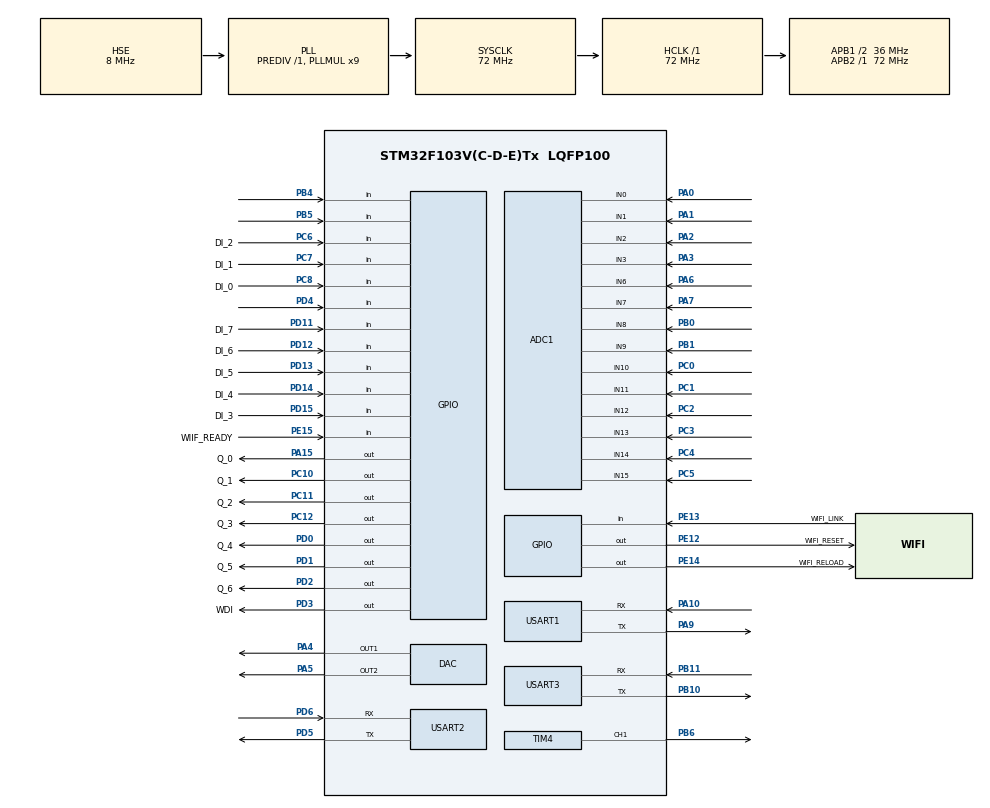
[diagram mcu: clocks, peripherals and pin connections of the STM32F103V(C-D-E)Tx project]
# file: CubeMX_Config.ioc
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ADC1.Channel-0\#ChannelRegularConversion=ADC_CHANNEL_0
ADC1.Channel-1\#ChannelRegularConversion=ADC_CHANNEL_1
ADC1.Channel-10\#ChannelRegularConversion=ADC_CHANNEL_12
ADC1.Channel-11\#ChannelRegularConversion=ADC_CHANNEL_13
ADC1.Channel-12\#ChannelRegularConversion=ADC_CHANNEL_14
ADC1.Channel-13\#ChannelRegularConversion=ADC_CHANNEL_15
ADC1.Channel-2\#ChannelRegularConversion=ADC_CHANNEL_2
ADC1.Channel-3\#ChannelRegularConversion=ADC_CHANNEL_3
ADC1.Channel-4\#ChannelRegularConversion=ADC_CHANNEL_6
ADC1.Channel-5\#ChannelRegularConversion=ADC_CHANNEL_7
ADC1.Channel-6\#ChannelRegularConversion=ADC_CHANNEL_8
ADC1.Channel-7\#ChannelRegularConversion=ADC_CHANNEL_9
ADC1.Channel-8\#ChannelRegularConversion=ADC_CHANNEL_10
ADC1.Channel-9\#ChannelRegularConversion=ADC_CHANNEL_11
ADC1.ContinuousConvMode=ENABLE
ADC1.NbrOfConversion=14
ADC1.NbrOfConversionFlag=1
ADC1.Rank-0\#ChannelRegularConversion=1
ADC1.Rank-1\#ChannelRegularConversion=2
ADC1.Rank-10\#ChannelRegularConversion=11
ADC1.Rank-11\#ChannelRegularConversion=12
ADC1.Rank-12\#ChannelRegularConversion=13
ADC1.Rank-13\#ChannelRegularConversion=14
ADC1.Rank-2\#ChannelRegularConversion=3
ADC1.Rank-3\#ChannelRegularConversion=4
ADC1.Rank-4\#ChannelRegularConversion=5
ADC1.Rank-5\#ChannelRegularConversion=6
ADC1.Rank-6\#ChannelRegularConversion=7
ADC1.Rank-7\#ChannelRegularConversion=8
ADC1.Rank-8\#ChannelRegularConversion=9
ADC1.Rank-9\#ChannelRegularConversion=10
ADC1.SamplingTime-0\#ChannelRegularConversion=ADC_SAMPLETIME_41CYCLES_5
ADC1.SamplingTime-1\#ChannelRegularConversion=ADC_SAMPLETIME_41CYCLES_5
ADC1.SamplingTime-10\#ChannelRegularConversion=ADC_SAMPLETIME_41CYCLES_5
ADC1.SamplingTime-11\#ChannelRegularConversion=ADC_SAMPLETIME_41CYCLES_5
ADC1.SamplingTime-12\#ChannelRegularConversion=ADC_SAMPLETIME_41CYCLES_5
ADC1.SamplingTime-13\#ChannelRegularConversion=ADC_SAMPLETIME_41CYCLES_5
ADC1.SamplingTime-2\#ChannelRegularConversion=ADC_SAMPLETIME_41CYCLES_5
ADC1.SamplingTime-3\#ChannelRegularConversion=ADC_SAMPLETIME_41CYCLES_5
ADC1.SamplingTime-4\#ChannelRegularConversion=ADC_SAMPLETIME_41CYCLES_5
ADC1.SamplingTime-5\#ChannelRegularConversion=ADC_SAMPLETIME_41CYCLES_5
ADC1.SamplingTime-6\#ChannelRegularConversion=ADC_SAMPLETIME_41CYCLES_5
ADC1.SamplingTime-7\#ChannelRegularConversion=ADC_SAMPLETIME_41CYCLES_5
ADC1.SamplingTime-8\#ChannelRegularConversion=ADC_SAMPLETIME_41CYCLES_5
ADC1.SamplingTime-9\#ChannelRegularConversion=ADC_SAMPLETIME_41CYCLES_5
ADC1.master=1
Dma.ADC1.6.Direction=DMA_PERIPH_TO_MEMORY
Dma.ADC1.6.Instance=DMA1_Channel1
Dma.ADC1.6.MemDataAlignment=DMA_MDATAALIGN_WORD
Dma.ADC1.6.MemInc=DMA_MINC_ENABLE
Dma.ADC1.6.Mode=DMA_CIRCULAR
Dma.ADC1.6.PeriphDataAlignment=DMA_PDATAALIGN_WORD
Dma.ADC1.6.PeriphInc=DMA_PINC_DISABLE
Dma.ADC1.6.Priority=DMA_PRIORITY_MEDIUM
Dma.Request0=USART3_RX
Dma.Request1=USART3_TX
Dma.Request2=USART1_RX
Dma.Request3=USART1_TX
Dma.Request4=USART2_RX
Dma.Request5=USART2_TX
Dma.Request6=ADC1
Dma.USART1_RX.2.Direction=DMA_PERIPH_TO_MEMORY
Dma.USART1_RX.2.Instance=DMA1_Channel5
Dma.USART1_RX.2.MemDataAlignment=DMA_MDATAALIGN_BYTE
Dma.USART1_RX.2.MemInc=DMA_MINC_ENABLE
Dma.USART1_RX.2.Mode=DMA_NORMAL
Dma.USART1_RX.2.PeriphDataAlignment=DMA_PDATAALIGN_BYTE
Dma.USART1_RX.2.PeriphInc=DMA_PINC_DISABLE
Dma.USART1_RX.2.Priority=DMA_PRIORITY_LOW
Dma.USART1_TX.3.Direction=DMA_MEMORY_TO_PERIPH
Dma.USART1_TX.3.Instance=DMA1_Channel4
Dma.USART1_TX.3.MemDataAlignment=DMA_MDATAALIGN_BYTE
Dma.USART1_TX.3.MemInc=DMA_MINC_ENABLE
Dma.USART1_TX.3.Mode=DMA_NORMAL
Dma.USART1_TX.3.PeriphDataAlignment=DMA_PDATAALIGN_BYTE
Dma.USART1_TX.3.PeriphInc=DMA_PINC_DISABLE
Dma.USART1_TX.3.Priority=DMA_PRIORITY_LOW
Dma.USART2_RX.4.Direction=DMA_PERIPH_TO_MEMORY
Dma.USART2_RX.4.Instance=DMA1_Channel6
Dma.USART2_RX.4.MemDataAlignment=DMA_MDATAALIGN_BYTE
Dma.USART2_RX.4.MemInc=DMA_MINC_ENABLE
Dma.USART2_RX.4.Mode=DMA_NORMAL
Dma.USART2_RX.4.PeriphDataAlignment=DMA_PDATAALIGN_BYTE
Dma.USART2_RX.4.PeriphInc=DMA_PINC_DISABLE
Dma.USART2_RX.4.Priority=DMA_PRIORITY_LOW
Dma.USART2_TX.5.Direction=DMA_MEMORY_TO_PERIPH
Dma.USART2_TX.5.Instance=DMA1_Channel7
Dma.USART2_TX.5.MemDataAlignment=DMA_MDATAALIGN_BYTE
Dma.USART2_TX.5.MemInc=DMA_MINC_ENABLE
Dma.USART2_TX.5.Mode=DMA_NORMAL
Dma.USART2_TX.5.PeriphDataAlignment=DMA_PDATAALIGN_BYTE
Dma.USART2_TX.5.PeriphInc=DMA_PINC_DISABLE
Dma.USART2_TX.5.Priority=DMA_PRIORITY_LOW
Dma.USART3_RX.0.Direction=DMA_PERIPH_TO_MEMORY
Dma.USART3_RX.0.Instance=DMA1_Channel3
Dma.USART3_RX.0.MemDataAlignment=DMA_MDATAALIGN_BYTE
Dma.USART3_RX.0.MemInc=DMA_MINC_ENABLE
Dma.USART3_RX.0.Mode=DMA_NORMAL
Dma.USART3_RX.0.PeriphDataAlignment=DMA_PDATAALIGN_BYTE
Dma.USART3_RX.0.PeriphInc=DMA_PINC_DISABLE
Dma.USART3_RX.0.Priority=DMA_PRIORITY_LOW
Dma.USART3_TX.1.Direction=DMA_MEMORY_TO_PERIPH
Dma.USART3_TX.1.Instance=DMA1_Channel2
Dma.USART3_TX.1.MemDataAlignment=DMA_MDATAALIGN_BYTE
Dma.USART3_TX.1.MemInc=DMA_MINC_ENABLE
Dma.USART3_TX.1.Mode=DMA_NORMAL
Dma.USART3_TX.1.PeriphDataAlignment=DMA_PDATAALIGN_BYTE
Dma.USART3_TX.1.PeriphInc=DMA_PINC_DISABLE
Dma.USART3_TX.1.Priority=DMA_PRIORITY_LOW
Mcu.Family=STM32F1
Mcu.Name=STM32F103V(C-D-E)Tx
Mcu.Package=LQFP100
NVIC.DMA1_Channel1_IRQn=true\:0\:0\:false\:false\:true\:false\:true\:true
NVIC.DMA1_Channel2_IRQn=true\:0\:0\:false\:false\:true\:false\:true\:true
NVIC.DMA1_Channel3_IRQn=true\:0\:0\:false\:false\:true\:false\:true\:true
NVIC.DMA1_Channel4_IRQn=true\:0\:0\:false\:false\:true\:false\:true\:true
NVIC.DMA1_Channel5_IRQn=true\:0\:0\:false\:false\:true\:false\:true\:true
NVIC.DMA1_Channel6_IRQn=true\:0\:0\:false\:false\:true\:false\:true\:true
NVIC.DMA1_Channel7_IRQn=true\:0\:0\:false\:false\:true\:false\:true\:true
NVIC.PriorityGroup=NVIC_PRIORITYGROUP_4
NVIC.USART1_IRQn=true\:0\:0\:false\:false\:true\:true\:true\:true
NVIC.USART2_IRQn=true\:0\:0\:false\:false\:true\:true\:true\:true
NVIC.USART3_IRQn=true\:0\:0\:false\:false\:true\:true\:true\:true
OSC_IN.Mode=HSE-External-Oscillator
OSC_IN.Signal=RCC_OSC_IN
OSC_OUT.Mode=HSE-External-Oscillator
OSC_OUT.Signal=RCC_OSC_OUT
PA0-WKUP.Signal=ADCx_IN0
PA1.Signal=ADCx_IN1
PA10.Mode=Asynchronous
PA10.Signal=USART1_RX
PA13.Mode=Serial_Wire
PA13.Signal=SYS_JTMS-SWDIO
PA14.Mode=Serial_Wire
PA14.Signal=SYS_JTCK-SWCLK
PA15.GPIO_Label=Q_0
PA15.Signal=GPIO_Output
PA2.Signal=ADCx_IN2
PA3.Signal=ADCx_IN3
PA4.Signal=COMP_DAC1_group
PA5.Signal=COMP_DAC2_group
PA6.Signal=ADCx_IN6
PA7.Signal=ADCx_IN7
PA9.Mode=Asynchronous
PA9.Signal=USART1_TX
PB0.Signal=ADCx_IN8
PB1.Signal=ADCx_IN9
PB10.Mode=Asynchronous
PB10.Signal=USART3_TX
PB11.Mode=Asynchronous
PB11.Signal=USART3_RX
PB4.Signal=GPIO_Input
PB5.Signal=GPIO_Input
PB6.Signal=S_TIM4_CH1
PC0.Signal=ADCx_IN10
PC1.Signal=ADCx_IN11
PC10.GPIO_Label=Q_1
PC10.Signal=GPIO_Output
PC11.GPIO_Label=Q_2
PC11.Signal=GPIO_Output
PC12.GPIO_Label=Q_3
PC12.Signal=GPIO_Output
PC2.Signal=ADCx_IN12
PC3.Signal=ADCx_IN13
PC4.Signal=ADCx_IN14
PC5.Signal=ADCx_IN15
PC6.GPIO_Label=DI_2
PC6.Signal=GPIO_Input
PC7.GPIO_Label=DI_1
PC7.Signal=GPIO_Input
PC8.GPIO_Label=DI_0
PC8.Signal=GPIO_Input
PD0.GPIO_Label=Q_4
PD0.Signal=GPIO_Output
PD1.GPIO_Label=Q_5
PD1.Signal=GPIO_Output
PD11.GPIO_Label=DI_7
PD11.Signal=GPIO_Input
PD12.GPIO_Label=DI_6
PD12.Signal=GPIO_Input
PD13.GPIO_Label=DI_5
PD13.Signal=GPIO_Input
PD14.GPIO_Label=DI_4
PD14.Signal=GPIO_Input
PD15.GPIO_Label=DI_3
PD15.Signal=GPIO_Input
PD2.GPIO_Label=Q_6
PD2.Signal=GPIO_Output
PD3.GPIO_Label=WDI
PD3.Signal=GPIO_Output
PD4.Signal=GPIO_Input
PD5.Mode=Asynchronous
PD5.Signal=USART2_TX
PD6.Mode=Asynchronous
PD6.Signal=USART2_RX
PE12.GPIO_Label=WIFI_RESET
PE12.GPIO_PuPd=GPIO_PULLUP
PE12.PinState=GPIO_PIN_SET
PE12.Signal=GPIO_Output
PE13.GPIO_Label=WIFI_LINK
PE13.Signal=GPIO_Input
PE14.GPIO_Label=WIFI_RELOAD
PE14.GPIO_ModeDefaultOutputPP=GPIO_MODE_OUTPUT_PP
PE14.GPIO_PuPd=GPIO_PULLUP
PE14.PinState=GPIO_PIN_SET
PE14.Signal=GPIO_Output
PE15.GPIO_Label=WIIF_READY
PE15.Signal=GPIO_Input
ProjectManager.HeapSize=0x000
ProjectManager.StackSize=0x800
ProjectManager.TargetToolchain=MDK-ARM V5.27
RCC.ADCPresc=RCC_ADCPCLK2_DIV6
RCC.AHBFreq_Value=72000000
RCC.APB1CLKDivider=RCC_HCLK_DIV2
RCC.APB1Freq_Value=36000000
RCC.APB1TimFreq_Value=72000000
RCC.APB2Freq_Value=72000000
RCC.APB2TimFreq_Value=72000000
RCC.HCLKFreq_Value=72000000
RCC.PLLMUL=RCC_PLL_MUL9
RCC.PLLSourceVirtual=RCC_PLLSOURCE_HSE
RCC.SYSCLKFreq_VALUE=72000000
RCC.SYSCLKSource=RCC_SYSCLKSOURCE_PLLCLK
RCC.USBFreq_Value=72000000
SH.ADCx_IN0.0=ADC1_IN0,IN0
SH.ADCx_IN1.0=ADC1_IN1,IN1
SH.ADCx_IN10.0=ADC1_IN10,IN10
SH.ADCx_IN11.0=ADC1_IN11,IN11
SH.ADCx_IN12.0=ADC1_IN12,IN12
SH.ADCx_IN13.0=ADC1_IN13,IN13
SH.ADCx_IN14.0=ADC1_IN14,IN14
SH.ADCx_IN15.0=ADC1_IN15,IN15
SH.ADCx_IN2.0=ADC1_IN2,IN2
SH.ADCx_IN3.0=ADC1_IN3,IN3
SH.ADCx_IN6.0=ADC1_IN6,IN6
SH.ADCx_IN7.0=ADC1_IN7,IN7
SH.ADCx_IN8.0=ADC1_IN8,IN8
SH.ADCx_IN9.0=ADC1_IN9,IN9
SH.COMP_DAC1_group.0=DAC_OUT1,DAC_OUT1
SH.COMP_DAC2_group.0=DAC_OUT2,DAC_OUT2
SH.S_TIM4_CH1.0=TIM4_CH1,PWM Generation1 CH1
TIM4.Channel-PWM\ Generation1\ CH1=TIM_CHANNEL_1
TIM4.Period=50000-1
TIM4.Prescaler=7200-1
USART1.VirtualMode=VM_ASYNC
USART2.VirtualMode=VM_ASYNC
USART3.VirtualMode=VM_ASYNC
VP_TIM4_VS_ClockSourceINT.Mode=Internal
board=custom

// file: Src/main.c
/* USER CODE BEGIN Header */
/**
 ******************************************************************************
 * @file           : main.c
 * @brief          : Main program body
 ******************************************************************************
 * @attention
 *
 * Copyright (c) 2022 STMicroelectronics.
 * All rights reserved.
 *
 * This software is licensed under terms that can be found in the LICENSE file
 * in the root directory of this software component.
 * If no LICENSE file comes with this software, it is provided AS-IS.
 *
 ******************************************************************************
 */
/* USER CODE END Header */
#include "main.h"

/* USER CODE BEGIN Includes */
#include "rtthread.h"
/* USER CODE END Includes */

ADC_HandleTypeDef hadc1;
DMA_HandleTypeDef hdma_adc1;

DAC_HandleTypeDef hdac;

TIM_HandleTypeDef htim4;

UART_HandleTypeDef huart1;
UART_HandleTypeDef huart2;
UART_HandleTypeDef huart3;
DMA_HandleTypeDef hdma_usart1_rx;
DMA_HandleTypeDef hdma_usart1_tx;
DMA_HandleTypeDef hdma_usart2_rx;
DMA_HandleTypeDef hdma_usart2_tx;
DMA_HandleTypeDef hdma_usart3_rx;
DMA_HandleTypeDef hdma_usart3_tx;

void SystemClock_Config(void);
static void MX_GPIO_Init(void);
static void MX_DMA_Init(void);
static void MX_ADC1_Init(void);
static void MX_DAC_Init(void);
static void MX_USART1_UART_Init(void);
static void MX_USART2_UART_Init(void);
static void MX_USART3_UART_Init(void);
static void MX_TIM4_Init(void);

/* USER CODE BEGIN 0 */
int rt_stm32_hal_init(void)
{
  HAL_Init();
  MX_GPIO_Init();
  MX_DMA_Init();
  MX_ADC1_Init();
  MX_DAC_Init();
  MX_USART1_UART_Init();
  MX_USART2_UART_Init();
  MX_USART3_UART_Init();
  MX_TIM4_Init();
  HAL_TIM_PWM_Start(&htim4, TIM_CHANNEL_1);
  /*启动时复位一下wifi*/
  HAL_GPIO_WritePin(WIFI_RESET_GPIO_Port, WIFI_RESET_Pin, GPIO_PIN_RESET);
  HAL_Delay(100);
  HAL_GPIO_WritePin(WIFI_RESET_GPIO_Port, WIFI_RESET_Pin, GPIO_PIN_SET);
  return 0;
}
/*在内核对象中初始�??:https://blog.csdn.net/yang1111111112/article/details/93982354*/
// INIT_COMPONENT_EXPORT(rt_stm32_hal_init);
// INIT_ENV_EXPORT(rt_stm32_hal_init);
INIT_DEVICE_EXPORT(rt_stm32_hal_init);
/* USER CODE END 0 */

void SystemClock_Config(void)
{
  RCC_OscInitTypeDef RCC_OscInitStruct = {0};
  RCC_ClkInitTypeDef RCC_ClkInitStruct = {0};
  RCC_PeriphCLKInitTypeDef PeriphClkInit = {0};

  /** Initializes the RCC Oscillators according to the specified parameters
   * in the RCC_OscInitTypeDef structure.
   */
  RCC_OscInitStruct.OscillatorType = RCC_OSCILLATORTYPE_HSE;
  RCC_OscInitStruct.HSEState = RCC_HSE_ON;
  RCC_OscInitStruct.HSEPredivValue = RCC_HSE_PREDIV_DIV1;
  RCC_OscInitStruct.HSIState = RCC_HSI_ON;
  RCC_OscInitStruct.PLL.PLLState = RCC_PLL_ON;
  RCC_OscInitStruct.PLL.PLLSource = RCC_PLLSOURCE_HSE;
  RCC_OscInitStruct.PLL.PLLMUL = RCC_PLL_MUL9;
  if (HAL_RCC_OscConfig(&RCC_OscInitStruct) != HAL_OK)
  {
    Error_Handler();
  }

  /** Initializes the CPU, AHB and APB buses clocks
   */
  RCC_ClkInitStruct.ClockType = RCC_CLOCKTYPE_HCLK | RCC_CLOCKTYPE_SYSCLK | RCC_CLOCKTYPE_PCLK1 | RCC_CLOCKTYPE_PCLK2;
  RCC_ClkInitStruct.SYSCLKSource = RCC_SYSCLKSOURCE_PLLCLK;
  RCC_ClkInitStruct.AHBCLKDivider = RCC_SYSCLK_DIV1;
  RCC_ClkInitStruct.APB1CLKDivider = RCC_HCLK_DIV2;
  RCC_ClkInitStruct.APB2CLKDivider = RCC_HCLK_DIV1;

  if (HAL_RCC_ClockConfig(&RCC_ClkInitStruct, FLASH_LATENCY_2) != HAL_OK)
  {
    Error_Handler();
  }
  PeriphClkInit.PeriphClockSelection = RCC_PERIPHCLK_ADC;
  PeriphClkInit.AdcClockSelection = RCC_ADCPCLK2_DIV6;
  if (HAL_RCCEx_PeriphCLKConfig(&PeriphClkInit) != HAL_OK)
  {
    Error_Handler();
  }
}

static void MX_ADC1_Init(void)
{

  ADC_ChannelConfTypeDef sConfig = {0};

  /** Common config
   */
  hadc1.Instance = ADC1;
  hadc1.Init.ScanConvMode = ADC_SCAN_ENABLE;
  hadc1.Init.ContinuousConvMode = ENABLE;
  hadc1.Init.DiscontinuousConvMode = DISABLE;
  hadc1.Init.ExternalTrigConv = ADC_SOFTWARE_START;
  hadc1.Init.DataAlign = ADC_DATAALIGN_RIGHT;
  hadc1.Init.NbrOfConversion = 14;
  if (HAL_ADC_Init(&hadc1) != HAL_OK)
  {
    Error_Handler();
  }

  /** Configure Regular Channel
   */
  sConfig.Channel = ADC_CHANNEL_0;
  sConfig.Rank = ADC_REGULAR_RANK_1;
  sConfig.SamplingTime = ADC_SAMPLETIME_41CYCLES_5;
  if (HAL_ADC_ConfigChannel(&hadc1, &sConfig) != HAL_OK)
  {
    Error_Handler();
  }

  /** Configure Regular Channel
   */
  sConfig.Channel = ADC_CHANNEL_1;
  sConfig.Rank = ADC_REGULAR_RANK_2;
  if (HAL_ADC_ConfigChannel(&hadc1, &sConfig) != HAL_OK)
  {
    Error_Handler();
  }

  /** Configure Regular Channel
   */
  sConfig.Channel = ADC_CHANNEL_2;
  sConfig.Rank = ADC_REGULAR_RANK_3;
  if (HAL_ADC_ConfigChannel(&hadc1, &sConfig) != HAL_OK)
  {
    Error_Handler();
  }

  /** Configure Regular Channel
   */
  sConfig.Channel = ADC_CHANNEL_3;
  sConfig.Rank = ADC_REGULAR_RANK_4;
  if (HAL_ADC_ConfigChannel(&hadc1, &sConfig) != HAL_OK)
  {
    Error_Handler();
  }

  /** Configure Regular Channel
   */
  sConfig.Channel = ADC_CHANNEL_6;
  sConfig.Rank = ADC_REGULAR_RANK_5;
  if (HAL_ADC_ConfigChannel(&hadc1, &sConfig) != HAL_OK)
  {
    Error_Handler();
  }

  /** Configure Regular Channel
   */
  sConfig.Channel = ADC_CHANNEL_7;
  sConfig.Rank = ADC_REGULAR_RANK_6;
  if (HAL_ADC_ConfigChannel(&hadc1, &sConfig) != HAL_OK)
  {
    Error_Handler();
  }

  /** Configure Regular Channel
   */
  sConfig.Channel = ADC_CHANNEL_8;
  sConfig.Rank = ADC_REGULAR_RANK_7;
  if (HAL_ADC_ConfigChannel(&hadc1, &sConfig) != HAL_OK)
  {
    Error_Handler();
  }

  /** Configure Regular Channel
   */
  sConfig.Channel = ADC_CHANNEL_9;
  sConfig.Rank = ADC_REGULAR_RANK_8;
  if (HAL_ADC_ConfigChannel(&hadc1, &sConfig) != HAL_OK)
  {
    Error_Handler();
  }

  /** Configure Regular Channel
   */
  sConfig.Channel = ADC_CHANNEL_10;
  sConfig.Rank = ADC_REGULAR_RANK_9;
  if (HAL_ADC_ConfigChannel(&hadc1, &sConfig) != HAL_OK)
  {
    Error_Handler();
  }

  /** Configure Regular Channel
   */
  sConfig.Channel = ADC_CHANNEL_11;
  sConfig.Rank = ADC_REGULAR_RANK_10;
  if (HAL_ADC_ConfigChannel(&hadc1, &sConfig) != HAL_OK)
  {
    Error_Handler();
  }

  /** Configure Regular Channel
   */
  sConfig.Channel = ADC_CHANNEL_12;
  sConfig.Rank = ADC_REGULAR_RANK_11;
  if (HAL_ADC_ConfigChannel(&hadc1, &sConfig) != HAL_OK)
  {
    Error_Handler();
  }

  /** Configure Regular Channel
   */
  sConfig.Channel = ADC_CHANNEL_13;
  sConfig.Rank = ADC_REGULAR_RANK_12;
  if (HAL_ADC_ConfigChannel(&hadc1, &sConfig) != HAL_OK)
  {
    Error_Handler();
  }

  /** Configure Regular Channel
   */
  sConfig.Channel = ADC_CHANNEL_14;
  sConfig.Rank = ADC_REGULAR_RANK_13;
  if (HAL_ADC_ConfigChannel(&hadc1, &sConfig) != HAL_OK)
  {
    Error_Handler();
  }

  /** Configure Regular Channel
   */
  sConfig.Channel = ADC_CHANNEL_15;
  sConfig.Rank = ADC_REGULAR_RANK_14;
  if (HAL_ADC_ConfigChannel(&hadc1, &sConfig) != HAL_OK)
  {
    Error_Handler();
  }
}

static void MX_DAC_Init(void)
{

  DAC_ChannelConfTypeDef sConfig = {0};

  /** DAC Initialization
   */
  hdac.Instance = DAC;
  if (HAL_DAC_Init(&hdac) != HAL_OK)
  {
    Error_Handler();
  }

  /** DAC channel OUT1 config
   */
  sConfig.DAC_Trigger = DAC_TRIGGER_NONE;
  sConfig.DAC_OutputBuffer = DAC_OUTPUTBUFFER_ENABLE;
  if (HAL_DAC_ConfigChannel(&hdac, &sConfig, DAC_CHANNEL_1) != HAL_OK)
  {
    Error_Handler();
  }

  /** DAC channel OUT2 config
   */
  if (HAL_DAC_ConfigChannel(&hdac, &sConfig, DAC_CHANNEL_2) != HAL_OK)
  {
    Error_Handler();
  }
}

static void MX_TIM4_Init(void)
{

  TIM_ClockConfigTypeDef sClockSourceConfig = {0};
  TIM_MasterConfigTypeDef sMasterConfig = {0};
  TIM_OC_InitTypeDef sConfigOC = {0};

  htim4.Instance = TIM4;
  htim4.Init.Prescaler = 7200 - 1;
  htim4.Init.CounterMode = TIM_COUNTERMODE_UP;
  htim4.Init.Period = 50000 - 1; //50000
  htim4.Init.ClockDivision = TIM_CLOCKDIVISION_DIV1;
  htim4.Init.AutoReloadPreload = TIM_AUTORELOAD_PRELOAD_DISABLE;
  if (HAL_TIM_Base_Init(&htim4) != HAL_OK)
  {
    Error_Handler();
  }
  sClockSourceConfig.ClockSource = TIM_CLOCKSOURCE_INTERNAL;
  if (HAL_TIM_ConfigClockSource(&htim4, &sClockSourceConfig) != HAL_OK)
  {
    Error_Handler();
  }
  if (HAL_TIM_PWM_Init(&htim4) != HAL_OK)
  {
    Error_Handler();
  }
  sMasterConfig.MasterOutputTrigger = TIM_TRGO_RESET;
  sMasterConfig.MasterSlaveMode = TIM_MASTERSLAVEMODE_DISABLE;
  if (HAL_TIMEx_MasterConfigSynchronization(&htim4, &sMasterConfig) != HAL_OK)
  {
    Error_Handler();
  }
  sConfigOC.OCMode = TIM_OCMODE_PWM1;
  sConfigOC.Pulse = 0;
  sConfigOC.OCPolarity = TIM_OCPOLARITY_HIGH;
  sConfigOC.OCFastMode = TIM_OCFAST_DISABLE;
  if (HAL_TIM_PWM_ConfigChannel(&htim4, &sConfigOC, TIM_CHANNEL_1) != HAL_OK)
  {
    Error_Handler();
  }
  HAL_TIM_MspPostInit(&htim4);
}

static void MX_USART1_UART_Init(void)
{

  huart1.Instance = USART1;
  huart1.Init.BaudRate = 115200;
  huart1.Init.WordLength = UART_WORDLENGTH_8B;
  huart1.Init.StopBits = UART_STOPBITS_1;
  huart1.Init.Parity = UART_PARITY_NONE;
  huart1.Init.Mode = UART_MODE_TX_RX;
  huart1.Init.HwFlowCtl = UART_HWCONTROL_NONE;
  huart1.Init.OverSampling = UART_OVERSAMPLING_16;
  if (HAL_UART_Init(&huart1) != HAL_OK)
  {
    Error_Handler();
  }
}

static void MX_USART2_UART_Init(void)
{

  huart2.Instance = USART2;
  huart2.Init.BaudRate = 115200;
  huart2.Init.WordLength = UART_WORDLENGTH_8B;
  huart2.Init.StopBits = UART_STOPBITS_1;
  huart2.Init.Parity = UART_PARITY_NONE;
  huart2.Init.Mode = UART_MODE_TX_RX;
  huart2.Init.HwFlowCtl = UART_HWCONTROL_NONE;
  huart2.Init.OverSampling = UART_OVERSAMPLING_16;
  if (HAL_UART_Init(&huart2) != HAL_OK)
  {
    Error_Handler();
  }
}

static void MX_USART3_UART_Init(void)
{

  huart3.Instance = USART3;
  huart3.Init.BaudRate = 115200;
  huart3.Init.WordLength = UART_WORDLENGTH_8B;
  huart3.Init.StopBits = UART_STOPBITS_1;
  huart3.Init.Parity = UART_PARITY_NONE;
  huart3.Init.Mode = UART_MODE_TX_RX;
  huart3.Init.HwFlowCtl = UART_HWCONTROL_NONE;
  huart3.Init.OverSampling = UART_OVERSAMPLING_16;
  if (HAL_UART_Init(&huart3) != HAL_OK)
  {
    Error_Handler();
  }
}

static void MX_DMA_Init(void)
{

  /* DMA controller clock enable */
  __HAL_RCC_DMA1_CLK_ENABLE();

  /* DMA interrupt init */
  /* DMA1_Channel1_IRQn interrupt configuration */
  HAL_NVIC_SetPriority(DMA1_Channel1_IRQn, 0, 0);
  HAL_NVIC_EnableIRQ(DMA1_Channel1_IRQn);
  /* DMA1_Channel2_IRQn interrupt configuration */
  HAL_NVIC_SetPriority(DMA1_Channel2_IRQn, 0, 0);
  HAL_NVIC_EnableIRQ(DMA1_Channel2_IRQn);
  /* DMA1_Channel3_IRQn interrupt configuration */
  HAL_NVIC_SetPriority(DMA1_Channel3_IRQn, 0, 0);
  HAL_NVIC_EnableIRQ(DMA1_Channel3_IRQn);
  /* DMA1_Channel4_IRQn interrupt configuration */
  HAL_NVIC_SetPriority(DMA1_Channel4_IRQn, 0, 0);
  HAL_NVIC_EnableIRQ(DMA1_Channel4_IRQn);
  /* DMA1_Channel5_IRQn interrupt configuration */
  HAL_NVIC_SetPriority(DMA1_Channel5_IRQn, 0, 0);
  HAL_NVIC_EnableIRQ(DMA1_Channel5_IRQn);
  /* DMA1_Channel6_IRQn interrupt configuration */
  HAL_NVIC_SetPriority(DMA1_Channel6_IRQn, 0, 0);
  HAL_NVIC_EnableIRQ(DMA1_Channel6_IRQn);
  /* DMA1_Channel7_IRQn interrupt configuration */
  HAL_NVIC_SetPriority(DMA1_Channel7_IRQn, 0, 0);
  HAL_NVIC_EnableIRQ(DMA1_Channel7_IRQn);
}

static void MX_GPIO_Init(void)
{
  GPIO_InitTypeDef GPIO_InitStruct = {0};

  /* GPIO Ports Clock Enable */
  __HAL_RCC_GPIOC_CLK_ENABLE();
  __HAL_RCC_GPIOA_CLK_ENABLE();
  __HAL_RCC_GPIOB_CLK_ENABLE();
  __HAL_RCC_GPIOE_CLK_ENABLE();
  __HAL_RCC_GPIOD_CLK_ENABLE();

  /*Configure GPIO pin Output Level */
  HAL_GPIO_WritePin(GPIOE, WIFI_RESET_Pin | WIFI_RELOAD_Pin, GPIO_PIN_SET);

  /*Configure GPIO pin Output Level */
  HAL_GPIO_WritePin(Q_0_GPIO_Port, Q_0_Pin, GPIO_PIN_RESET);

  /*Configure GPIO pin Output Level */
  HAL_GPIO_WritePin(GPIOC, Q_1_Pin | Q_2_Pin | Q_3_Pin, GPIO_PIN_RESET);

  /*Configure GPIO pin Output Level */
  HAL_GPIO_WritePin(GPIOD, Q_4_Pin | Q_5_Pin | Q_6_Pin | WDI_Pin, GPIO_PIN_RESET);

  /*Configure GPIO pins : WIFI_RESET_Pin WIFI_RELOAD_Pin */
  GPIO_InitStruct.Pin = WIFI_RESET_Pin | WIFI_RELOAD_Pin;
  GPIO_InitStruct.Mode = GPIO_MODE_OUTPUT_PP;
  GPIO_InitStruct.Pull = GPIO_PULLUP;
  GPIO_InitStruct.Speed = GPIO_SPEED_FREQ_LOW;
  HAL_GPIO_Init(GPIOE, &GPIO_InitStruct);

  /*Configure GPIO pins : WIFI_LINK_Pin WIIF_READY_Pin */
  GPIO_InitStruct.Pin = WIFI_LINK_Pin | WIIF_READY_Pin;
  GPIO_InitStruct.Mode = GPIO_MODE_INPUT;
  GPIO_InitStruct.Pull = GPIO_NOPULL;
  HAL_GPIO_Init(GPIOE, &GPIO_InitStruct);

  /*Configure GPIO pins : DI_7_Pin DI_6_Pin DI_5_Pin DI_4_Pin
                           DI_3_Pin PD4 */
  GPIO_InitStruct.Pin = DI_7_Pin | DI_6_Pin | DI_5_Pin | DI_4_Pin | DI_3_Pin | GPIO_PIN_4;
  GPIO_InitStruct.Mode = GPIO_MODE_INPUT;
  GPIO_InitStruct.Pull = GPIO_NOPULL;
  HAL_GPIO_Init(GPIOD, &GPIO_InitStruct);

  /*Configure GPIO pins : DI_2_Pin DI_1_Pin DI_0_Pin */
  GPIO_InitStruct.Pin = DI_2_Pin | DI_1_Pin | DI_0_Pin;
  GPIO_InitStruct.Mode = GPIO_MODE_INPUT;
  GPIO_InitStruct.Pull = GPIO_NOPULL;
  HAL_GPIO_Init(GPIOC, &GPIO_InitStruct);

  /*Configure GPIO pin : Q_0_Pin */
  GPIO_InitStruct.Pin = Q_0_Pin;
  GPIO_InitStruct.Mode = GPIO_MODE_OUTPUT_PP;
  GPIO_InitStruct.Pull = GPIO_NOPULL;
  GPIO_InitStruct.Speed = GPIO_SPEED_FREQ_LOW;
  HAL_GPIO_Init(Q_0_GPIO_Port, &GPIO_InitStruct);

  /*Configure GPIO pins : Q_1_Pin Q_2_Pin Q_3_Pin */
  GPIO_InitStruct.Pin = Q_1_Pin | Q_2_Pin | Q_3_Pin;
  GPIO_InitStruct.Mode = GPIO_MODE_OUTPUT_PP;
  GPIO_InitStruct.Pull = GPIO_NOPULL;
  GPIO_InitStruct.Speed = GPIO_SPEED_FREQ_LOW;
  HAL_GPIO_Init(GPIOC, &GPIO_InitStruct);

  /*Configure GPIO pins : Q_4_Pin Q_5_Pin Q_6_Pin WDI_Pin */
  GPIO_InitStruct.Pin = Q_4_Pin | Q_5_Pin | Q_6_Pin | WDI_Pin;
  GPIO_InitStruct.Mode = GPIO_MODE_OUTPUT_PP;
  GPIO_InitStruct.Pull = GPIO_NOPULL;
  GPIO_InitStruct.Speed = GPIO_SPEED_FREQ_LOW;
  HAL_GPIO_Init(GPIOD, &GPIO_InitStruct);

  /*Configure GPIO pins : PB4 PB5 */
  GPIO_InitStruct.Pin = GPIO_PIN_4 | GPIO_PIN_5;
  GPIO_InitStruct.Mode = GPIO_MODE_INPUT;
  GPIO_InitStruct.Pull = GPIO_NOPULL;
  HAL_GPIO_Init(GPIOB, &GPIO_InitStruct);
}

void Error_Handler(void)
{
  __disable_irq();
  while (1)
  {
  }
}
